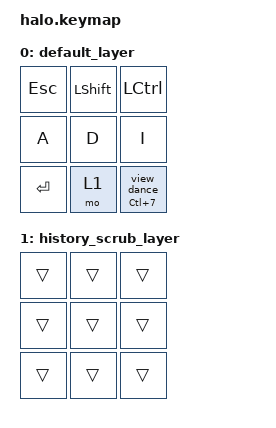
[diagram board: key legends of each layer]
#include <behaviors.dtsi>
#include <dt-bindings/zmk/keys.h>

/ {
    behaviors {
        view_dance: tap_dance_views {
            compatible = "zmk,behavior-tap-dance";
            label = "TAP_DANCE_VIEWS";
            #binding-cells = <0>;
            tapping-term-ms = <250>; 
            bindings 
                = <&kp LC(N1)>  // 1 Tap   ➔ Front View (Ctrl+1)
                , <&kp LC(N5)>  // 2 Taps  ➔ Top View   (Ctrl+5)
                , <&kp LC(N4)>; // 3 Taps  ➔ Right View (Ctrl+4)
        };

        view_hold: view_hold_isometric {
            compatible = "zmk,behavior-hold-tap";
            label = "VIEW_HOLD_ISOMETRIC";
            #binding-cells = <2>;
            flavor = "tap-preferred";
            tapping-term-ms = <300>; 
            bindings = <&kp>, <&view_dance>;
        };
    };

    keymap {
        compatible = "zmk,keymap";

        position-transform = <&default_transform>;

        default_layer {
            bindings = <
                &kp ESC      &kp LSHIFT   &kp LCTRL     
                &kp A        &kp D        &kp I         
                &kp ENTER    &mo 1        &view_hold LC(N7) 0 
            >;               
        };

        history_scrub_layer {
            bindings = <
                &trans       &trans       &trans
                &trans       &trans       &trans
                &trans       &trans       &trans
            >;
        };
    };
};
